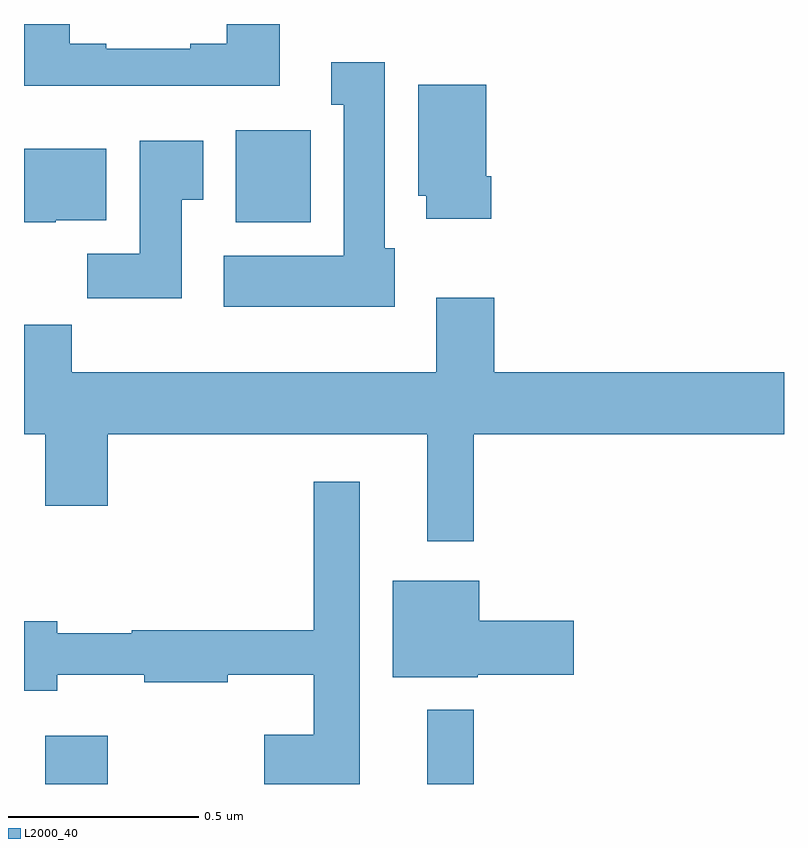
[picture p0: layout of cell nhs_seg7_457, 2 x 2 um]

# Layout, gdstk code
import gdstk
lib = gdstk.Library(unit=1e-6, precision=1e-09)
def R(c, l, rs):  # rectangles x0, y0, x1, y1
    for r in rs: c.add(gdstk.rectangle(r[:2], r[2:], *l))
def P(c, l, *ps):  # polygons
    for p in ps: c.add(gdstk.Polygon(p, *l))
L2000_40 = (2000, 40)

nhs_seg7_457 = lib.new_cell('nhs_seg7_457')
R(nhs_seg7_457, L2000_40, [(117.056,1029,117.22,1029.127), (118.061,1029,118.183,1029.196), (117.557,1030.478,117.754,1030.72)])
P(nhs_seg7_457, L2000_40, [(117.673,1031),(117.533,1031),(117.533,1030.948),(117.437,1030.948),(117.437,1030.935),(117.217,1030.935),(117.217,1030.948),(117.121,1030.948),(117.121,1031),(117,1031),(117,1030.838),(117.673,1030.838)],
  [(117.976,1030.41),(117.949,1030.41),(117.949,1030.9),(117.809,1030.9),(117.809,1030.787),(117.842,1030.787),(117.842,1030.39),(117.525,1030.39),(117.525,1030.256),(117.976,1030.256)],
  [(118.229,1030.6),(118.216,1030.6),(118.216,1030.84),(118.037,1030.84),(118.037,1030.548),(118.058,1030.548),(118.058,1030.488),(118.229,1030.488)],
  [(117.415,1030.537),(117.472,1030.537),(117.472,1030.693),(117.305,1030.693),(117.305,1030.396),(117.166,1030.396),(117.166,1030.278),(117.415,1030.278)],
  [(117.084,1030.484),(117.217,1030.484),(117.217,1030.672),(117,1030.672),(117,1030.478),(117.084,1030.478)],
  [(118.183,1029.92),(119,1029.92),(119,1030.084),(118.238,1030.084),(118.238,1030.279),(118.085,1030.279),(118.085,1030.084),(117.125,1030.084),(117.125,1030.208),(117,1030.208),(117,1029.92),(117.056,1029.92),(117.056,1029.732),(117.22,1029.732),(117.22,1029.92),(118.061,1029.92),(118.061,1029.639),(118.183,1029.639)],
  [(117.883,1029.796),(117.762,1029.796),(117.762,1029.404),(117.284,1029.404),(117.284,1029.397),(117.088,1029.397),(117.088,1029.428),(117,1029.428),(117,1029.245),(117.088,1029.245),(117.088,1029.287),(117.316,1029.287),(117.316,1029.268),(117.536,1029.268),(117.536,1029.287),(117.762,1029.287),(117.762,1029.13),(117.632,1029.13),(117.632,1029),(117.883,1029)],
  [(118.194,1029.287),(118.447,1029.287),(118.447,1029.429),(118.198,1029.429),(118.198,1029.535),(117.971,1029.535),(117.971,1029.281),(118.194,1029.281)])

lib.write_gds('nhs_seg7_457.gds')
